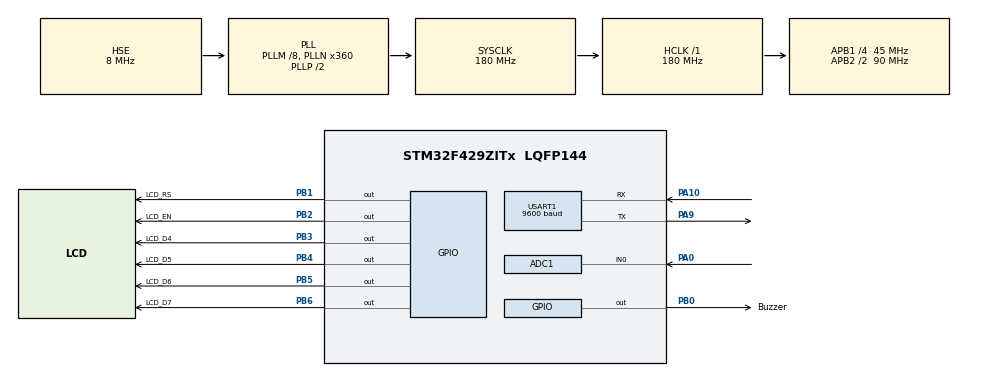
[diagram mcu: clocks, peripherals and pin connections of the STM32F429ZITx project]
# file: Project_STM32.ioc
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ADC1.Channel-1\#ChannelRegularConversion=ADC_CHANNEL_0
ADC1.NbrOfConversionFlag=1
ADC1.Rank-1\#ChannelRegularConversion=1
ADC1.SamplingTime-1\#ChannelRegularConversion=ADC_SAMPLETIME_3CYCLES
ADC1.master=1
Mcu.Family=STM32F4
Mcu.Name=STM32F429ZITx
Mcu.Package=LQFP144
NVIC.PriorityGroup=NVIC_PRIORITYGROUP_4
PA0/WKUP.Signal=ADCx_IN0
PA10.Mode=Asynchronous
PA10.Signal=USART1_RX
PA9.Mode=Asynchronous
PA9.Signal=USART1_TX
PB0.GPIO_Label=Buzzer
PB0.Signal=GPIO_Output
PB1.GPIO_Label=LCD_RS
PB1.GPIO_Speed=GPIO_SPEED_FREQ_HIGH
PB1.Signal=GPIO_Output
PB2/BOOT1.GPIO_Label=LCD_EN
PB2/BOOT1.GPIO_Speed=GPIO_SPEED_FREQ_HIGH
PB2/BOOT1.Signal=GPIO_Output
PB3.GPIO_Label=LCD_D4
PB3.GPIO_Speed=GPIO_SPEED_FREQ_HIGH
PB3.Signal=GPIO_Output
PB4.GPIO_Label=LCD_D5
PB4.GPIO_Speed=GPIO_SPEED_FREQ_HIGH
PB4.Signal=GPIO_Output
PB5.GPIO_Label=LCD_D6
PB5.GPIO_Speed=GPIO_SPEED_FREQ_HIGH
PB5.Signal=GPIO_Output
PB6.GPIO_Label=LCD_D7
PB6.GPIO_Speed=GPIO_SPEED_FREQ_HIGH
PB6.Signal=GPIO_Output
PH0/OSC_IN.Mode=HSE-External-Oscillator
PH0/OSC_IN.Signal=RCC_OSC_IN
PH1/OSC_OUT.Mode=HSE-External-Oscillator
PH1/OSC_OUT.Signal=RCC_OSC_OUT
ProjectManager.HeapSize=0x200
ProjectManager.StackSize=0x400
ProjectManager.TargetToolchain=STM32CubeIDE
RCC.48MHZClocksFreq_Value=90000000
RCC.AHBFreq_Value=180000000
RCC.APB1CLKDivider=RCC_HCLK_DIV4
RCC.APB1Freq_Value=45000000
RCC.APB1TimFreq_Value=90000000
RCC.APB2CLKDivider=RCC_HCLK_DIV2
RCC.APB2Freq_Value=90000000
RCC.APB2TimFreq_Value=180000000
RCC.CortexFreq_Value=180000000
RCC.HCLKFreq_Value=180000000
RCC.HSE_VALUE=8000000
RCC.HSI_VALUE=16000000
RCC.LSE_VALUE=32768
RCC.PLLM=8
RCC.PLLN=360
RCC.PLLSourceVirtual=RCC_PLLSOURCE_HSE
RCC.SYSCLKFreq_VALUE=180000000
RCC.SYSCLKSource=RCC_SYSCLKSOURCE_PLLCLK
RCC.VCOOutputFreq_Value=360000000
SH.ADCx_IN0.0=ADC1_IN0,IN0
USART1.BaudRate=9600
USART1.VirtualMode=VM_ASYNC
board=custom

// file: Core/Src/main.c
/* USER CODE BEGIN Header */
/**
  ******************************************************************************
  * @file           : main.c
  * @brief          : Main program body
  ******************************************************************************
  * @attention
  *
  * Copyright (c) 2024 STMicroelectronics.
  * All rights reserved.
  *
  * This software is licensed under terms that can be found in the LICENSE file
  * in the root directory of this software component.
  * If no LICENSE file comes with this software, it is provided AS-IS.
  *
  ******************************************************************************
  */
/* USER CODE END Header */
#include "main.h"

/* USER CODE BEGIN Includes */
#include "math.h"
#include "string.h"
#include "stdio.h"
#include "lcd.h"

/* USER CODE END Includes */

/* USER CODE BEGIN PD */
//MQ-2
#define RL_VALUE          5.0     // Điện trở tải RL (kΩ)
#define V_REF             5     // Điện áp tham chiếu (V)
#define ADC_RESOLUTION    4095.0  // Độ phân giải ADC (12-bit)

// R0 cần được hiệu chuẩn trước trong không khí sạch
#define R0_VALUE          10.0    // Ví dụ: giá trị R0 sau khi hiệu chuẩn
/* USER CODE END PD */

ADC_HandleTypeDef hadc1;

UART_HandleTypeDef huart1;

/* USER CODE BEGIN PV */
float gas_concentration, rs;
char buffer[100];
/* USER CODE END PV */

void SystemClock_Config(void);
static void MX_GPIO_Init(void);
static void MX_ADC1_Init(void);
static void MX_USART1_UART_Init(void);
/* USER CODE BEGIN PFP */
//MQ-2 and Buzzer
uint32_t Read_ADC_Value(void);
float Calculate_RS(uint32_t adc_value);
float RS_to_PPM(float rs);
void Buzzer_Alert();

/* USER CODE END PFP */

int main(void)
{

  /* MCU Configuration--------------------------------------------------------*/

  /* Reset of all peripherals, Initializes the Flash interface and the Systick. */
  HAL_Init();

  /* Configure the system clock */
  SystemClock_Config();

  /* Initialize all configured peripherals */
  MX_GPIO_Init();
  MX_ADC1_Init();
  MX_USART1_UART_Init();
  /* USER CODE BEGIN 2 */
  LCD_Init();

  /* USER CODE END 2 */

  /* Infinite loop */
  while (1)
  {

    /* USER CODE BEGIN 3 */
      uint32_t adc_value = Read_ADC_Value();      // Đọc giá trị ADC
      rs = Calculate_RS(adc_value);      // Tính R_S
      gas_concentration = RS_to_PPM(rs); ;
	LCD_Clear();
	if(gas_concentration < 2000)
	{
		LCD_DisplayGasPPM((uint16_t)gas_concentration, 0, 0);
		LCD_SetCursor(1, 0);
		LCD_SendString("Binh thuong");
	}
	else
	{
		Buzzer_Alert();
		LCD_DisplayGasPPM((uint16_t)gas_concentration, 0, 0);
		LCD_SetCursor(1, 0);
		LCD_SendString("Khi gas ro ri");
	}
	// Truyền nồng độ khí gas đo được từ stm32 sang esp8266 bằng uart
	sprintf(buffer, "Gas: %u\n", (uint16_t)gas_concentration);
	HAL_UART_Transmit(&huart1, (uint8_t *) buffer, strlen(buffer), HAL_MAX_DELAY);
	HAL_Delay(1000);
  }
  /* USER CODE END 3 */
}

void SystemClock_Config(void)
{
  RCC_OscInitTypeDef RCC_OscInitStruct = {0};
  RCC_ClkInitTypeDef RCC_ClkInitStruct = {0};

  /** Configure the main internal regulator output voltage
  */
  __HAL_RCC_PWR_CLK_ENABLE();
  __HAL_PWR_VOLTAGESCALING_CONFIG(PWR_REGULATOR_VOLTAGE_SCALE1);

  /** Initializes the RCC Oscillators according to the specified parameters
  * in the RCC_OscInitTypeDef structure.
  */
  RCC_OscInitStruct.OscillatorType = RCC_OSCILLATORTYPE_HSE;
  RCC_OscInitStruct.HSEState = RCC_HSE_ON;
  RCC_OscInitStruct.PLL.PLLState = RCC_PLL_ON;
  RCC_OscInitStruct.PLL.PLLSource = RCC_PLLSOURCE_HSE;
  RCC_OscInitStruct.PLL.PLLM = 8;
  RCC_OscInitStruct.PLL.PLLN = 360;
  RCC_OscInitStruct.PLL.PLLP = RCC_PLLP_DIV2;
  RCC_OscInitStruct.PLL.PLLQ = 4;
  if (HAL_RCC_OscConfig(&RCC_OscInitStruct) != HAL_OK)
  {
    Error_Handler();
  }

  /** Activate the Over-Drive mode
  */
  if (HAL_PWREx_EnableOverDrive() != HAL_OK)
  {
    Error_Handler();
  }

  /** Initializes the CPU, AHB and APB buses clocks
  */
  RCC_ClkInitStruct.ClockType = RCC_CLOCKTYPE_HCLK|RCC_CLOCKTYPE_SYSCLK
                              |RCC_CLOCKTYPE_PCLK1|RCC_CLOCKTYPE_PCLK2;
  RCC_ClkInitStruct.SYSCLKSource = RCC_SYSCLKSOURCE_PLLCLK;
  RCC_ClkInitStruct.AHBCLKDivider = RCC_SYSCLK_DIV1;
  RCC_ClkInitStruct.APB1CLKDivider = RCC_HCLK_DIV4;
  RCC_ClkInitStruct.APB2CLKDivider = RCC_HCLK_DIV2;

  if (HAL_RCC_ClockConfig(&RCC_ClkInitStruct, FLASH_LATENCY_5) != HAL_OK)
  {
    Error_Handler();
  }
}

static void MX_ADC1_Init(void)
{

  ADC_ChannelConfTypeDef sConfig = {0};

  /** Configure the global features of the ADC (Clock, Resolution, Data Alignment and number of conversion)
  */
  hadc1.Instance = ADC1;
  hadc1.Init.ClockPrescaler = ADC_CLOCK_SYNC_PCLK_DIV4;
  hadc1.Init.Resolution = ADC_RESOLUTION_12B;
  hadc1.Init.ScanConvMode = DISABLE;
  hadc1.Init.ContinuousConvMode = DISABLE;
  hadc1.Init.DiscontinuousConvMode = DISABLE;
  hadc1.Init.ExternalTrigConvEdge = ADC_EXTERNALTRIGCONVEDGE_NONE;
  hadc1.Init.ExternalTrigConv = ADC_SOFTWARE_START;
  hadc1.Init.DataAlign = ADC_DATAALIGN_RIGHT;
  hadc1.Init.NbrOfConversion = 1;
  hadc1.Init.DMAContinuousRequests = DISABLE;
  hadc1.Init.EOCSelection = ADC_EOC_SINGLE_CONV;
  if (HAL_ADC_Init(&hadc1) != HAL_OK)
  {
    Error_Handler();
  }

  /** Configure for the selected ADC regular channel its corresponding rank in the sequencer and its sample time.
  */
  sConfig.Channel = ADC_CHANNEL_0;
  sConfig.Rank = 1;
  sConfig.SamplingTime = ADC_SAMPLETIME_3CYCLES;
  if (HAL_ADC_ConfigChannel(&hadc1, &sConfig) != HAL_OK)
  {
    Error_Handler();
  }

}

static void MX_USART1_UART_Init(void)
{

  huart1.Instance = USART1;
  huart1.Init.BaudRate = 9600;
  huart1.Init.WordLength = UART_WORDLENGTH_8B;
  huart1.Init.StopBits = UART_STOPBITS_1;
  huart1.Init.Parity = UART_PARITY_NONE;
  huart1.Init.Mode = UART_MODE_TX_RX;
  huart1.Init.HwFlowCtl = UART_HWCONTROL_NONE;
  huart1.Init.OverSampling = UART_OVERSAMPLING_16;
  if (HAL_UART_Init(&huart1) != HAL_OK)
  {
    Error_Handler();
  }

}

static void MX_GPIO_Init(void)
{
  GPIO_InitTypeDef GPIO_InitStruct = {0};

  /* GPIO Ports Clock Enable */
  __HAL_RCC_GPIOH_CLK_ENABLE();
  __HAL_RCC_GPIOA_CLK_ENABLE();
  __HAL_RCC_GPIOB_CLK_ENABLE();

  /*Configure GPIO pin Output Level */
  HAL_GPIO_WritePin(GPIOB, Buzzer_Pin|LCD_RS_Pin|LCD_EN_Pin|LCD_D4_Pin
                          |LCD_D5_Pin|LCD_D6_Pin|LCD_D7_Pin, GPIO_PIN_RESET);

  /*Configure GPIO pin : Buzzer_Pin */
  GPIO_InitStruct.Pin = Buzzer_Pin;
  GPIO_InitStruct.Mode = GPIO_MODE_OUTPUT_PP;
  GPIO_InitStruct.Pull = GPIO_NOPULL;
  GPIO_InitStruct.Speed = GPIO_SPEED_FREQ_MEDIUM;
  HAL_GPIO_Init(Buzzer_GPIO_Port, &GPIO_InitStruct);

  /*Configure GPIO pins : LCD_RS_Pin LCD_EN_Pin LCD_D4_Pin LCD_D5_Pin
                           LCD_D6_Pin LCD_D7_Pin */
  GPIO_InitStruct.Pin = LCD_RS_Pin|LCD_EN_Pin|LCD_D4_Pin|LCD_D5_Pin
                          |LCD_D6_Pin|LCD_D7_Pin;
  GPIO_InitStruct.Mode = GPIO_MODE_OUTPUT_PP;
  GPIO_InitStruct.Pull = GPIO_NOPULL;
  GPIO_InitStruct.Speed = GPIO_SPEED_FREQ_HIGH;
  HAL_GPIO_Init(GPIOB, &GPIO_InitStruct);

}

/* USER CODE BEGIN 4 */

void Buzzer_Alert()
{
	//Mac kieu Source Dong, Khi tin hieu 1 tu PB0 thi coi se hu`
	HAL_GPIO_WritePin(GPIOB, GPIO_PIN_0, GPIO_PIN_SET);
	HAL_Delay(500);
	HAL_GPIO_WritePin(GPIOB, GPIO_PIN_0, GPIO_PIN_RESET);
}

uint32_t Read_ADC_Value(void) {
    HAL_ADC_Start(&hadc1);
    HAL_ADC_PollForConversion(&hadc1, HAL_MAX_DELAY);
    uint32_t adc_value = HAL_ADC_GetValue(&hadc1);
    HAL_ADC_Stop(&hadc1);
    return adc_value;
}

float Calculate_RS(uint32_t adc_value) {
    float voltage = (adc_value / ADC_RESOLUTION) * V_REF;  // Chuyển ADC sang điện áp
    float rs = ((V_REF - voltage) / voltage) * RL_VALUE;   // Tính điện trở RS
    return rs;
}

// Hàm chuyển đổi từ R_S sang ppm dựa trên đường cong MQ-2 (nội suy log-log)
float RS_to_PPM(float rs) {
    float ratio = rs / R0_VALUE;  // Tính tỷ lệ R_S / R0

    // Nội suy dựa trên đường cong của MQ-2 từ datasheet (ví dụ với khí LPG)
    // Công thức tham khảo log-log: ppm = 10^((log10(ratio) - B) / M)
    float M = -0.47;  // Hệ số dốc (slope) cho khí LPG (ví dụ)
    float B = 1.23;   // Hệ số giao (intercept) từ datasheet

    float ppm = pow(10, ((log10(ratio) - B) / M));
    return ppm;
}

/* USER CODE END 4 */

void Error_Handler(void)
{
  __disable_irq();
  while (1)
  {
  }
}
